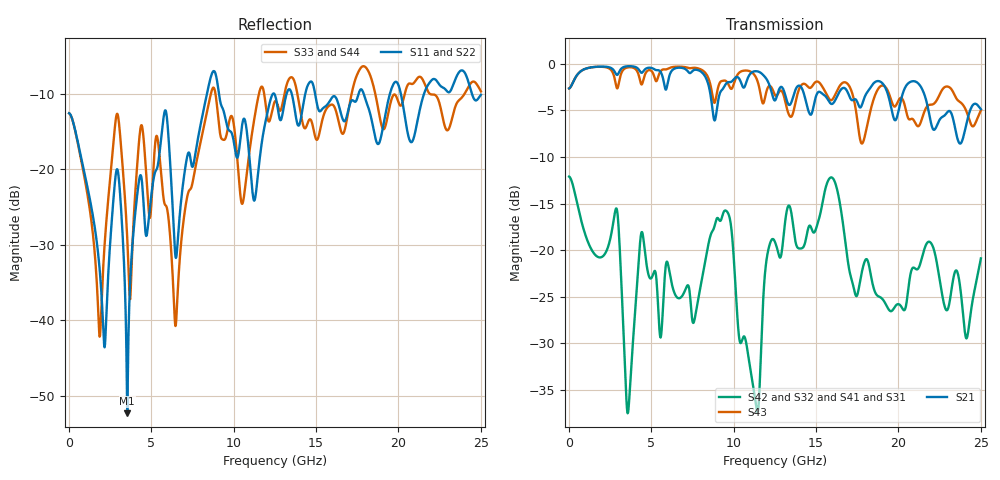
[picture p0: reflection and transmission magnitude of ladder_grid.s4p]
! R_s4_rect_2v: kisi's ladders coupled through the finite cavity (grid) (Finite board 24 × 16 mm, two vias L1 → L4 9.9 mm apart sharing the L2/L3 cavity, no return via)
# Hz S RI R 50
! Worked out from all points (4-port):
!   1000 points, 25 MHz to 25 GHz, reference 50 ohm
!   strongest paths, dB at 25 MHz, 6.275 GHz, 12.53 GHz, 18.77 GHz, 25 GHz:
!     S21: -2.6, -0.7, -3.9, -1.8, -4.9
!     S43: -2.6, -0.3, -3.4, -2.7, -5.0
!     S42: -12.1, -23.8, -19.2, -24.9, -20.9
!     S32: -12.1, -23.8, -19.2, -25.0, -20.9
!     S41: -12.1, -23.8, -19.2, -25.0, -20.9
!     S31: -12.1, -23.8, -19.2, -25.0, -20.9
!   lowest |S11| = -52.3 dB at 3.55 GHz (marker M1), VSWR 1.00, Z = 50.2 - j0.0471 ohm
!   |S11| at or under -10 dB: start of sweep to 8.383 GHz; 9.115 GHz to 12.39 GHz (3.275 GHz wide, 30.5 % of centre); 14.94 GHz to 17.58 GHz (2.638 GHz wide, 16.2 % of centre)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
2.5e7  0.2346 -0.0124  0.7384 0.0104  0.2481 -0.0132  -0.2481 0.0132
       0.7384 0.0104  0.2346 -0.0124  -0.2481 0.0132  0.2481 -0.0132
       0.2481 -0.0132  -0.2481 0.0132  0.2346 -0.0123  0.7384 0.0103
       -0.2481 0.0132  0.2481 -0.0132  0.7384 0.0103  0.2346 -0.0123
3.55e9  0.00237 -0.000469  0.9288 -0.2834  -0.0133 0.00314  0.0133 -0.00305
        0.9288 -0.2834  0.00204 -0.000316  0.0133 -0.00305  -0.0133 0.00297
        -0.0133 0.00314  0.0133 -0.00305  0.00777 -0.0341  0.9232 -0.2495
        0.0133 -0.00305  -0.0133 0.00297  0.9232 -0.2495  0.00787 -0.0339
5.825e9  0.2417 -0.0191  0.6143 -0.4357  0.0645 -0.0316  -0.0648 0.0309
         0.6143 -0.4357  0.2415 -0.0137  -0.0648 0.0309  0.0652 -0.0303
         0.0645 -0.0316  -0.0648 0.0309  0.0158 -0.0565  0.846 -0.3953
         -0.0648 0.0309  0.0652 -0.0303  0.846 -0.3953  0.0162 -0.0558
6.5e9  0.0247 -0.00767  0.8114 -0.4923  -0.0262 -0.0504  0.0257 0.0507
       0.8114 -0.4923  0.0239 -0.00653  0.0257 0.0507  -0.0251 -0.051
       -0.0262 -0.0504  0.0257 0.0507  0.00915 -0.00195  0.8274 -0.498
       0.0257 0.0507  -0.0251 -0.051  0.8274 -0.498  0.00826 -0.00115
8.75e9  0.4105 -0.1689  0.2815 -0.466  -0.1034 0.0751  0.1046 -0.0736
        0.2815 -0.466  0.4148 -0.1556  0.1046 -0.0736  -0.1058 0.0721
        -0.1034 0.0751  0.1046 -0.0736  0.3297 -0.1064  0.3759 -0.5348
        0.1046 -0.0736  -0.1058 0.0721  0.3759 -0.5348  0.332 -0.0953
1.1425e10  0.0786 -0.0201  0.5 -0.7635  -0.0109 -0.00807  0.0108 0.00829
           0.5 -0.7635  0.0779 -0.0148  0.0108 0.00829  -0.0106 -0.00851
           -0.0109 -0.00807  0.0108 0.00829  0.2739 -0.0226  0.2846 -0.7691
           0.0108 0.00829  -0.0106 -0.00851  0.2846 -0.7691  0.2737 -0.00986
2.5e10  -0.0341 -0.3096  -0.1659 -0.5467  0.0579 0.0691  -0.0552 -0.0714
        -0.1659 -0.5467  -0.00997 -0.3093  -0.0552 -0.0714  0.0525 0.0736
        0.0579 0.0691  -0.0552 -0.0714  -0.0916 -0.3152  -0.0845 -0.557
        -0.0552 -0.0714  0.0525 0.0736  -0.0845 -0.557  -0.0671 -0.3192
